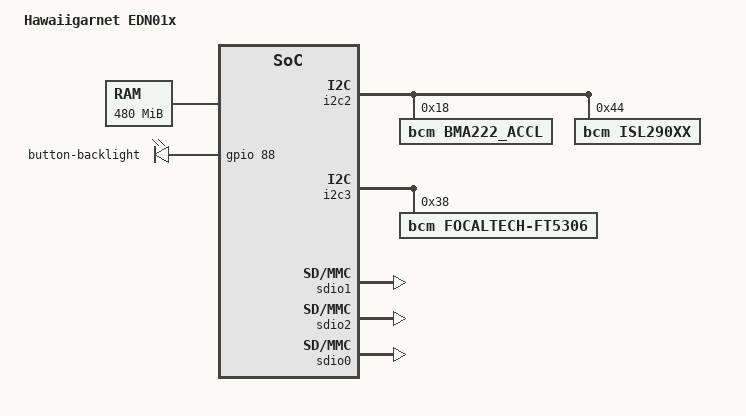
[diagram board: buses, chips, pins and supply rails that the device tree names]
/* Hawaii_edn01X Dts file */

/dts-v1/;

/include/ "bcm_21664.dtsi"
/include/ "hawaii_garnet_bcmpmu_c_w81.dtsi"

/ {
	model = "Hawaiigarnet EDN01x";
	compatible = "bcm,hawaii";

	chosen {
		bootargs = "console=ttyS0,115200n8 mem=480M gpt cma0=192M carveout0=0M androidboot.console=ttyS0 crash_ramdump=1 logbuf_nocache=1";
	};

	memory@82000000 {
		device_type = "memory";
		reg = <0x82000000 0x1e000000>; /* 480 MB */
	};

	rtc-kona {
		compatible = "bcm,rtc-kona";
		ch-num = <1>; /* Kona hub timer Channel number */
		timer-name = "aon-timer";
	};

	uart@3e000000 {
		clock-frequency = <26000000>;
		port-name = "console";
		clk-name = "uartb_clk";
	};

	uart@3e001000 {
		clock-frequency = <48000000>;
		port-name = "bluetooth";
		clk-name = "uartb2_clk";
	};

	uart@3e002000 {
		clock-frequency = <26000000>;
		port-name = "gps";
		clk-name = "uartb3_clk";
		/*If power-save-enable is set Change
		* PADCTRL_UBRTSN from UART3_RTSN to
		* UBRTSN (Debug UART) when GPS is inactive.*/
		power-save-enable = <1>;
	};

	i2c0: i2c@3e016000 {
		speed = <5>; /* BSC_BUS_SPEED_400 K */
		dynamic-speed = <1>;
		bsc-clk = "bsc1_clk";
		bsc-apb-clk = "bsc1_apb_clk";
		retries = <1>;
		is-pmu-i2c = <0>;
		fs-ref-frequency = <13000000>;
		hs-ref-frequency = <104000000>;
	};

	i2c1: i2c@3e017000 {
		speed = <5>; /* BSC_BUS_SPEED_400 K */
		dynamic-speed = <1>;
		bsc-clk = "bsc2_clk";
		bsc-apb-clk = "bsc2_apb_clk";
		retries = <3>;
		is-pmu-i2c = <0>;
		fs-ref-frequency = <13000000>;
		hs-ref-frequency = <104000000>;
	};

	i2c2: i2c@3e018000 {
		speed = <5>; /* BSC_BUS_SPEED_400 K */
		dynamic-speed = <1>;
		bsc-clk = "bsc3_clk";
		bsc-apb-clk = "bsc3_apb_clk";
		retries = <1>;
		is-pmu-i2c = <0>;
		fs-ref-frequency = <13000000>;
		hs-ref-frequency = <104000000>;

		bma222_accl@18 {
                        compatible = "bcm,bma222_accl";
                        reg = <0x18>;
                        gpio-irq-pin = <0xFFFFFFFF>;
			orientation  = <1>;
                        invert = <1>;

                };

		isl290xx@44 {
			compatible = "bcm,isl290xx";
			reg = <0x44>;
			gpio-irq-pin = <89>;
			prox_threshold_hi_param = <97>;
			prox_threshold_lo_param = <84>;
			aps_config = <0xd6>;
			aps_intr = <0x20>;
			prox_offset_param = <70>;
			prox_boot_cali = <1>;
		};

	};

	i2c3: i2c@3e01c000 {
		speed = <5>; /* BSC_BUS_SPEED_400 K */
		dynamic-speed = <1>;
		bsc-clk = "bsc4_clk";
		bsc-apb-clk = "bsc4_apb_clk";
		retries = <1>;
		is-pmu-i2c = <0>;
		fs-ref-frequency = <13000000>;
		hs-ref-frequency = <104000000>;

		FocalTech-Ft5306@46 {
			compatible = "bcm,FocalTech-Ft5306";
			reg = <0x38>;
			gpio-irq-pin = <73>;
			gpio-reset-pin = <70>;
			gpio-wakeup-pin = <70>;
			x-max-value = <480>;
			y-max-value = <800>;
			use-irq = <1>;
			power = "camldo2";
			vkey_scope = "0x01:139:120:850:160:80:0x01:102:240:850:160:80:0x01:158:360:850:160:80\n";
		};
	};

	i2c4: i2c@3500d000 {
		speed = <7>; /* BSC_BUS_SPEED_HS */
		dynamic-speed = <0>;
		bsc-clk = "pmu_bsc_clk";
		bsc-apb-clk = "pmu_bsc_apb";
		retries = <5>;
		is-pmu-i2c = <1>;
		fs-ref-frequency = <13000000>;
		hs-ref-frequency = <26000000>;
	};

	bluetooth-btlpm {
		compatible = "bcm,btlpm";
		bt-wake-gpio = <32>;
		host-wake-gpio = <72>;
		bt-uart-port = <1>;
	};

	bcmbt-rfkill {
		compatible = "bcm,bcmbt-rfkill";
		verg-gpio = <28>;
		n-reset-gpio = <0xFFFFFFFF>;
		aux0-gpio = <0xFFFFFFFF>; /* CLK32 */
		aux1-gpio = <0xFFFFFFFF>; /* UARTB_SEL,probably not required */
	};

	iommu_mm: iommu-mm {
		compatible = "bcm,iommu-m4u";
		iova_begin  = <0x80000000>;
		iova_size   = <0x80000000>;
		errbuf_size = <0x00001000>;
	};

	iovmm_mm: iovmm-mm {
		compatible = "bcm,iovmm";
		base = <0xc0000000>;
		size = <0x20000000>;
		order = <0>;
	};

	iovmm_mm_256mb: iovmm-mm-256mb {
		compatible = "bcm,iovmm";
		base = <0xe0000000>;
		size = <0x10000000>;
		order = <0>;
	};

	ion-system {
		compatible = "bcm,ion";
		id = <0>;
		type = <0>;
		iommu = <&iommu_mm>;
		iovmm = <&iovmm_mm_256mb>;
	};

	ion-carveout {
		compatible = "bcm,ion";
		id = <3>;
		type = <2>;
		base  = <0x90000000>;
		limit = <0xa0000000>;
		size  = <0x04000000>;
		lmk_enable = <0>;
		lmk_min_score_adj = <411>;
		lmk_min_free = <32>;
		iommu = <&iommu_mm>;
		iovmm = <&iovmm_mm_256mb>;
	};

	ion-cma {
		compatible = "bcm,ion";
		id = <2>;
		type = <4>;
		base  = <0x90000000>;
		limit = <0xa0000000>;
		size  = <0x0c000000>;
		lmk_enable = <1>;
		lmk_min_score_adj = <411>;
		lmk_min_free = <32>;
		iommu = <&iommu_mm>;
		iovmm = <&iovmm_mm_256mb>;
	};

	soc-back-camera {
		compatible = "bcm,soc-camera";
		reg = <0x3c 0x0>;
		bus-id = <0>;
		i2c-type = "ov2675";	/* i2c_board_info type */
		i2c-addr = <0x3c>;	/* i2c_board_info addr */
		i2c-adapter-id = <0>;
		module-name = "ov2675";
		if-type = <1>;		/* V4L2_SUBDEV_SENSOR_SERIAL */
		if-mode = <3>;		/* V4L2_SUBDEV_SENSOR_MODE_SERIAL_CSI2 */
		orientation = <1>;	/* V4L2_SUBDEV_SENSOR_LANDSCAPE */
		facing = <1>;		/* V4L2_SUBDEV_SENSOR_BACK */
		lanes = <1>;
		channel = <0>;
		phy-rate = <0>;
		pix-clk = <0>;
		regulators = "lvldo1_uc", "mmc1_vcc", "mmc2_vcc", "lvldo2_uc";
	};

	soc-front-camera {
		compatible = "bcm,soc-camera";
		reg = <0x3e 0x0>;
		bus-id = <0>;
		i2c-type = "sp0a28";	/* i2c_board_info type */
		i2c-addr = <0x3e>;	/* i2c_board_info addr */
		i2c-adapter-id = <0>;
		module-name = "sp0a28";
		if-type = <1>;		/* V4L2_SUBDEV_SENSOR_SERIAL */
		if-mode = <3>;		/* V4L2_SUBDEV_SENSOR_MODE_SERIAL_CSI2 */
		orientation = <1>;	/* V4L2_SUBDEV_SENSOR_LANDSCAPE */
		facing = <0>;		/* V4L2_SUBDEV_SENSOR_FRONT */
		lanes = <1>;
		channel = <1>;
		phy-rate = <0>;
		pix-clk = <0>;
		regulators = "lvldo2_uc", "mmc1_vcc", "mmc2_vcc", "lvldo1_uc";
	};

	kona-fb {
		module-name = "OTM8018B";
		reg-name = "cam2";
		rst-gpio = <22>;
		rst-setup = <700>;	/* 700us */
		rst-pulse = <20>;	/* 10us */
		rst-hold = <10000>;	/* 2ms */
		col-mod-i = <3>;
		col-mod-o = <2>;
		width = <480>;
		height = <854>;
		/* rst-active-high */	/* Commented => Active Low */
		vmode;
		/* vburst */	/* Non-burst mode */
		/* te-ctrl; */		/* Tearing Effect Control disabled */
		fps = <60>;
		lanes = <2>;
		cmnd-LP;		/* Commands in LP mode*/
		hs-bitrate = <333000000>;
		lp-bitrate = <5000000>;	/* 5mbps */
		iommu = <&iommu_mm>;
		iovmm = <&iovmm_mm>;
		rotation = <0>;
	};

	tmon@0x34008000 {
		compatible = "bcm,tmon";
		reg = <0x34008000 0x1000>;
		interrupts = <0 183 4>;
		chipreg_addr = <0x35004000 0x1000>;
		thold_size = <4>; /*number of threshold levels*/
		poll_rate_ms = <30000>;
		hysteresis = <0>;
		flags = <0>;
		interval_ms = <5>;
		/*critical temp is 115*/
		thold = <70 1
			85 1
			100 1
			115 2>;
		tmon_apb_clk = "tmon_apb";
		tmon_1m_clk = "tmon_1m_clk";
		falling = <5>;
	};

	memc@35008000 {
		compatible = "bcm,memc";
		reg = <0x35008000 0x1000>;
		flags = <0x3B>;
		chipreg_base = <0x35004000 0x1000>;
		memc0_aphy_base = <0x35008400 0x1000>;
		seq_busy_val = <2>;
		max_pwr = <3>;
	};

	sdio1 {
		compatible = "bcm,sdhci";
		reg = <0x3F190000 10000>;
		interrupts = <0 76 0x04>;
		id = <1>;
		data-pullup = <0>;
		is-8bit = <1>;
		devtype = <2>;		/*SDIO_DEV_TYPE_EMMC*/
		flags = <1>;		/*KONA_SDIO_FLAGS_DEVICE_NON_REMOVABLE*/
		peri-clk-name = "sdio2_clk";
		ahb-clk-name = "sdio2_ahb_clk";
		sleep-clk-name = "sdio2_sleep_clk";
		peri-clk-rate = <52000000>;
		vddsdmmc-regulator-name = "cam1";
	};

	sdio2 {
		compatible = "bcm,sdhci";
		reg = <0x3F1A0000 10000>;
		interrupts = <0 74 0x04>;
		id = <2>;
		data-pullup = <0>;
		devtype = <1>;		/*SDIO_DEV_TYPE_WIFI*/
		flags = <0>;		/*KONA_SDIO_FLAGS_DEVICE_REMOVABLE*/
		peri-clk-name = "sdio3_clk";
		ahb-clk-name = "sdio3_ahb_clk";
		sleep-clk-name = "sdio3_sleep_clk";
		peri-clk-rate = <48000000>;
	};

	sdio0 {
		compatible = "bcm,sdhci";
		reg = <0x3F180000 10000>;
		interrupts = <0 77 0x04>;
		id = <0>;
		data-pullup = <0>;
		cd-gpio = <0xFFFFFFFF>;		/*SD_CARDDET_GPIO_PIN*/
		devtype = <0>;		/*SDIO_DEV_TYPE_SDMMC*/
		flags = <0>;		/*KONA_SDIO_FLAGS_DEVICE_REMOVABLE*/
		peri-clk-name = "sdio1_clk";
		ahb-clk-name = "sdio1_ahb_clk";
		sleep-clk-name = "sdio1_sleep_clk";
		peri-clk-rate = <48000000>;
		vddo-regulator-name = "vdd_sdio";
		vddsdxc-regulator-name = "vdd_sdxc";
	};

	wifi-driver {
		compatible = "bcm,bcm_wifi";
		wl-reset-gpio = <3>;
		host-wake-gpio = <74>;
		board-nvram-file = "/system/vendor/firmware/fw_wifi_nvram_4330.txt";
		module-name = "bcmdhd_4330";
	};

	keypad {
		row-num = <1>;
		col-num = <2>;
		row-col-count = <8>;
		key-name = "Vol Down Key", "Vol Up Key", "unused", "unused",
			"unused", "unused", "unused", "unused", "unused",
			"unused", "unused", "unused", "unused", "unused",
			"unused", "unused", "unused", "unused", "unused",
			"unused", "unused", "unused", "unused", "unused",
			"unused", "unused", "unused", "unused", "unused",
			"unused", "unused", "unused", "unused", "unused",
			"unused", "unused", "unused", "unused", "unused",
			"unused", "unused", "unused", "unused", "unused",
			"unused", "unused", "unused", "unused", "unused",
			"unused", "unused", "unused", "unused", "unused",
			"unused", "unused", "unused", "unused", "unused",
			"unused", "unused", "unused", "unused", "unused";
		key-code = <114 115 0 0 0 0 0 0
			0 0 0 0 0 0 0 0
			0 0 0 0 0 0 0 0
			0 0 0 0 0 0 0 0
			0 0 0 0 0 0 0 0
			0 0 0 0 0 0 0 0
			0 0 0 0 0 0 0 0
			0 0 0 0 0 0 0 0>;
	};

	pwm-backlight {
		compatible = "bcm,pwm-backlight";
		reg = <0x0 0x0>;
		pwm-id = <2>;
		max-brightness = <32>;	/* Android calibrates to 32 levels */
		dft-brightness = <32>;
		polarity = <1>;		/* Inverted polarity */
		pwm-period-ns = <99900>; /* ~10010 Hz */
		pwm-request-label = "backlight";
		bl-on-delay = <7000>;
	};

	gpio-leds {
		compatible = "gpio-leds";

		button-backlight {
			label = "button-backlight";
			gpios = <&gpio 88 0>;
			linux,default-trigger = "kpbl";
		};
	};
};
